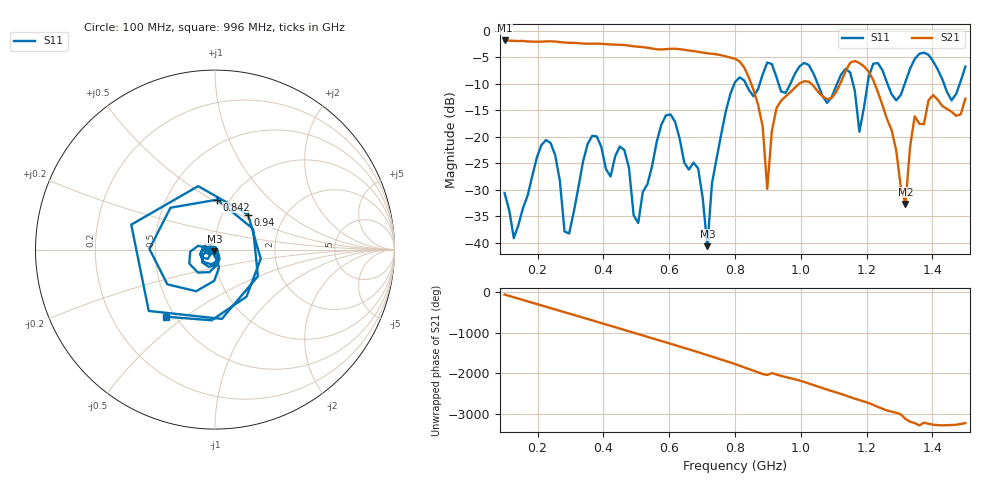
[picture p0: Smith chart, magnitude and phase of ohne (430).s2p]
! NanoVNA-App
! Date: 2025-09-25 14:24:08
! Start: 100MHz Stop: 1,5GHz Points: 101
! S-Parameter data: F S11 S21 S12 S22
# Hz S RI R 50
!  Frequency  S11_Real  S11_Imag  S21_Real  S21_Imag  S12_Real  S12_Imag  S22_Real  S22_Imag
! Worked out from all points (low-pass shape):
!   101 points, 100 MHz to 1.5 GHz, reference 50 ohm
!   highest |S21| = -1.79 dB at 100 MHz (marker M1); lowest = -32.7 dB at 1.318 GHz (marker M2)
!   |S21| within 3 dB of the highest: start of sweep to 771.7 MHz
!   lowest |S11| = -40.6 dB at 716 MHz (marker M3), VSWR 1.02, Z = 49.7 - j0.88 ohm
!   |S11| at or under -10 dB: start of sweep to 797.9 MHz; 833.2 MHz to 875.1 MHz (41.91 MHz wide, 4.91 % of centre); 1.052 GHz to 1.11 GHz (58.52 MHz wide, 5.41 % of centre)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
!   S12 and S22 are empty: the file has one direction only
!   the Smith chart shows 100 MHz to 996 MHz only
!   S11 on the Smith chart (normalised r, x): 100 MHz: 0.94, -0.01; 842 MHz: 0.88, +0.53; 940 MHz: 1.32, +0.56; 996 MHz: 0.45, -0.42
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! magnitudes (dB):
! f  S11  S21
! 100 MHz  -30.6  -1.8
! 128 MHz  -39.1  -1.9
! 226 MHz  -20.6  -2.0
! 296 MHz  -38.3  -2.2
! 338 MHz  -24.8  -2.4
! 464 MHz  -22.5  -2.7
! 506 MHz  -36.3  -3.0
! 576 MHz  -17.7  -3.5
! 688 MHz  -25.9  -3.9
! 716 MHz  -40.6  -4.2
! 800 MHz  -9.7  -5.3
! 842 MHz  -11.1  -8.8
! 898 MHz  -6.0  -29.8
! 940 MHz  -11.4  -13.2
! 996 MHz  -6.7  -9.9
! 1.038 GHz  -8.0  -10.3
! 1.178 GHz  -19.0  -6.1
! 1.22 GHz  -6.2  -9.3
! 1.276 GHz  -12.0  -18.7
! 1.318 GHz  -9.6  -32.7
! 1.346 GHz  -5.3  -16.1
! 1.5 GHz  -6.7  -12.8
